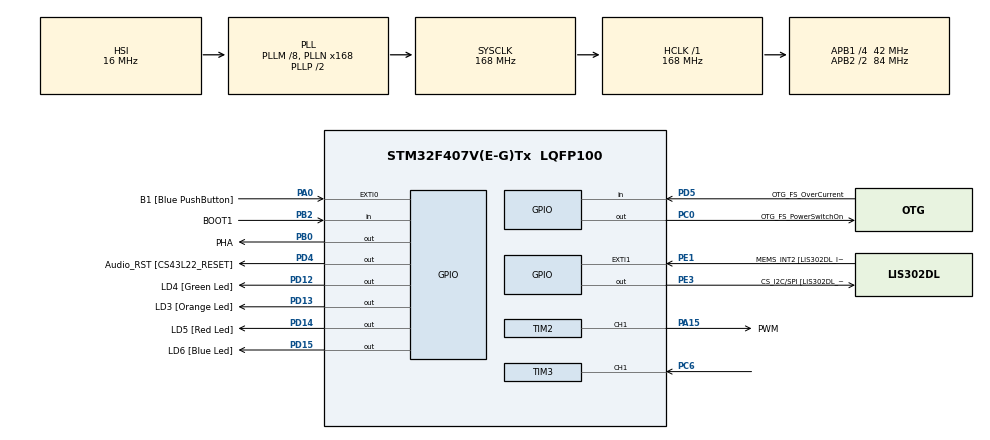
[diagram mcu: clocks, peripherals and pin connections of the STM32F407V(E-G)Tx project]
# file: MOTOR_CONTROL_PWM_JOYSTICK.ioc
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Mcu.Family=STM32F4
Mcu.Name=STM32F407V(E-G)Tx
Mcu.Package=LQFP100
NVIC.PriorityGroup=NVIC_PRIORITYGROUP_0
NVIC.TIM3_IRQn=true\:0\:0\:false\:false\:true\:true\:true\:true
PA0-WKUP.GPIO_Label=B1 [Blue PushButton]
PA0-WKUP.Signal=GPXTI0
PA10.GPIO_Label=OTG_FS_ID
PA10.GPIO_Mode=GPIO_MODE_AF_PP
PA10.GPIO_PuPd=GPIO_NOPULL
PA10.GPIO_Speed=GPIO_SPEED_FREQ_LOW
PA10.Signal=USB_OTG_FS_ID
PA11.GPIO_Label=OTG_FS_DM
PA11.GPIO_Mode=GPIO_MODE_AF_PP
PA11.GPIO_PuPd=GPIO_NOPULL
PA11.GPIO_Speed=GPIO_SPEED_FREQ_LOW
PA11.Signal=USB_OTG_FS_DM
PA12.GPIO_Label=OTG_FS_DP
PA12.GPIO_Mode=GPIO_MODE_AF_PP
PA12.GPIO_PuPd=GPIO_NOPULL
PA12.GPIO_Speed=GPIO_SPEED_FREQ_LOW
PA12.Signal=USB_OTG_FS_DP
PA13.GPIO_Label=SWDIO
PA13.Signal=SYS_JTMS-SWDIO
PA14.GPIO_Label=SWCLK
PA14.Signal=SYS_JTCK-SWCLK
PA15.GPIO_Label=PWM
PA15.Signal=S_TIM2_CH1_ETR
PA4.GPIO_Label=I2S3_WS [CS43L22_LRCK]
PA4.GPIO_Mode=GPIO_MODE_AF_PP
PA4.GPIO_PuPd=GPIO_NOPULL
PA4.GPIO_Speed=GPIO_SPEED_FREQ_LOW
PA4.Signal=I2S3_WS
PA5.GPIO_Label=SPI1_SCK [LIS302DL_SCL/SPC]
PA5.GPIO_Mode=GPIO_MODE_AF_PP
PA5.GPIO_PuPd=GPIO_NOPULL
PA5.GPIO_Speed=GPIO_SPEED_FREQ_LOW
PA5.Signal=SPI1_SCK
PA6.GPIO_Label=SPI1_MISO [LIS302DL_SDO]
PA6.GPIO_Mode=GPIO_MODE_AF_PP
PA6.GPIO_PuPd=GPIO_NOPULL
PA6.GPIO_Speed=GPIO_SPEED_FREQ_LOW
PA6.Signal=SPI1_MISO
PA7.GPIO_Label=SPI1_MOSI [LIS302DL_SDA/SDI/SDO]
PA7.GPIO_Mode=GPIO_MODE_AF_PP
PA7.GPIO_PuPd=GPIO_NOPULL
PA7.GPIO_Speed=GPIO_SPEED_FREQ_LOW
PA7.Signal=SPI1_MOSI
PA9.GPIO_Label=VBUS_FS
PA9.GPIO_Mode=GPIO_MODE_INPUT
PA9.GPIO_PuPd=GPIO_NOPULL
PA9.Signal=USB_OTG_FS_VBUS
PB0.GPIO_Label=PHA
PB0.Signal=GPIO_Output
PB10.GPIO_Label=CLK_IN [MP45DT02_CLK]
PB10.GPIO_Mode=GPIO_MODE_AF_PP
PB10.GPIO_PuPd=GPIO_NOPULL
PB10.GPIO_Speed=GPIO_SPEED_FREQ_LOW
PB10.Signal=I2S2_CK
PB2.GPIO_Label=BOOT1
PB2.GPIO_Mode=GPIO_MODE_INPUT
PB2.GPIO_PuPd=GPIO_NOPULL
PB2.Signal=GPIO_Input
PB3.GPIO_Label=SWO
PB3.Signal=SYS_JTDO-SWO
PB6.GPIO_Label=Audio_SCL [CS43L22_SCL]
PB6.GPIO_Mode=GPIO_MODE_AF_OD
PB6.GPIO_PuPd=GPIO_NOPULL
PB6.GPIO_Speed=GPIO_SPEED_FREQ_LOW
PB6.Signal=I2C1_SCL
PB9.GPIO_Label=Audio_SDA [CS43L22_SDA]
PB9.GPIO_Mode=GPIO_MODE_AF_OD
PB9.GPIO_PuPd=GPIO_NOPULL
PB9.GPIO_Speed=GPIO_SPEED_FREQ_LOW
PB9.Signal=I2C1_SDA
PC0.GPIO_Label=OTG_FS_PowerSwitchOn
PC0.GPIO_PuPd=GPIO_NOPULL
PC0.GPIO_Speed=GPIO_SPEED_FREQ_LOW
PC0.PinState=GPIO_PIN_SET
PC0.Signal=GPIO_Output
PC10.GPIO_Label=I2S3_SCK [CS43L22_SCLK]
PC10.GPIO_Mode=GPIO_MODE_AF_PP
PC10.GPIO_PuPd=GPIO_NOPULL
PC10.GPIO_Speed=GPIO_SPEED_FREQ_LOW
PC10.Signal=I2S3_CK
PC12.GPIO_Label=I2S3_SD [CS43L22_SDIN]
PC12.GPIO_Mode=GPIO_MODE_AF_PP
PC12.GPIO_PuPd=GPIO_NOPULL
PC12.GPIO_Speed=GPIO_SPEED_FREQ_LOW
PC12.Signal=I2S3_SD
PC14-OSC32_IN.GPIO_Label=PC14-OSC32_IN
PC14-OSC32_IN.Signal=RCC_OSC32_IN
PC15-OSC32_OUT.GPIO_Label=PC15-OSC32_OUT
PC15-OSC32_OUT.Signal=RCC_OSC32_OUT
PC3.GPIO_Label=PDM_OUT [MP45DT02_DOUT]
PC3.GPIO_Mode=GPIO_MODE_AF_PP
PC3.GPIO_PuPd=GPIO_NOPULL
PC3.GPIO_Speed=GPIO_SPEED_FREQ_LOW
PC3.Signal=I2S2_SD
PC6.Signal=S_TIM3_CH1
PC7.GPIO_Label=I2S3_MCK [CS43L22_MCLK]
PC7.GPIO_Mode=GPIO_MODE_AF_PP
PC7.GPIO_PuPd=GPIO_NOPULL
PC7.GPIO_Speed=GPIO_SPEED_FREQ_LOW
PC7.Signal=I2S3_MCK
PD12.GPIO_Label=LD4 [Green Led]
PD12.GPIO_PuPd=GPIO_NOPULL
PD12.GPIO_Speed=GPIO_SPEED_FREQ_LOW
PD12.Signal=GPIO_Output
PD13.GPIO_Label=LD3 [Orange Led]
PD13.GPIO_PuPd=GPIO_NOPULL
PD13.GPIO_Speed=GPIO_SPEED_FREQ_LOW
PD13.Signal=GPIO_Output
PD14.GPIO_Label=LD5 [Red Led]
PD14.GPIO_PuPd=GPIO_NOPULL
PD14.GPIO_Speed=GPIO_SPEED_FREQ_LOW
PD14.Signal=GPIO_Output
PD15.GPIO_Label=LD6 [Blue Led]
PD15.GPIO_PuPd=GPIO_NOPULL
PD15.GPIO_Speed=GPIO_SPEED_FREQ_LOW
PD15.Signal=GPIO_Output
PD4.GPIO_Label=Audio_RST [CS43L22_RESET]
PD4.GPIO_PuPd=GPIO_NOPULL
PD4.GPIO_Speed=GPIO_SPEED_FREQ_LOW
PD4.Signal=GPIO_Output
PD5.GPIO_Label=OTG_FS_OverCurrent
PD5.GPIO_Mode=GPIO_MODE_INPUT
PD5.GPIO_PuPd=GPIO_NOPULL
PD5.Signal=GPIO_Input
PE1.GPIO_Label=MEMS_INT2 [LIS302DL_INT2]
PE1.GPIO_ModeDefaultEXTI=GPIO_MODE_EVT_RISING
PE1.GPIO_PuPd=GPIO_NOPULL
PE1.Signal=GPXTI1
PE3.GPIO_Label=CS_I2C/SPI [LIS302DL_CS_I2C/SPI]
PE3.GPIO_PuPd=GPIO_NOPULL
PE3.GPIO_Speed=GPIO_SPEED_FREQ_LOW
PE3.Signal=GPIO_Output
PH0-OSC_IN.GPIO_Label=PH0-OSC_IN
PH0-OSC_IN.Signal=RCC_OSC_IN
PH1-OSC_OUT.GPIO_Label=PH1-OSC_OUT
PH1-OSC_OUT.Signal=RCC_OSC_OUT
ProjectManager.HeapSize=0x200
ProjectManager.StackSize=0x400
ProjectManager.TargetToolchain=STM32CubeIDE
RCC.48MHZClocksFreq_Value=48000000
RCC.AHBFreq_Value=168000000
RCC.APB1CLKDivider=RCC_HCLK_DIV4
RCC.APB1Freq_Value=42000000
RCC.APB1TimFreq_Value=84000000
RCC.APB2CLKDivider=RCC_HCLK_DIV2
RCC.APB2Freq_Value=84000000
RCC.APB2TimFreq_Value=168000000
RCC.CortexFreq_Value=168000000
RCC.HCLKFreq_Value=168000000
RCC.HSE_VALUE=8000000
RCC.HSI_VALUE=16000000
RCC.LSE_VALUE=32768
RCC.PLLM=8
RCC.PLLN=168
RCC.PLLQ=7
RCC.SYSCLKFreq_VALUE=168000000
RCC.SYSCLKSource=RCC_SYSCLKSOURCE_PLLCLK
RCC.VCOOutputFreq_Value=336000000
SH.S_TIM2_CH1_ETR.0=TIM2_CH1,PWM Generation1 CH1
SH.S_TIM3_CH1.0=TIM3_CH1,Input_Capture1_from_TI1
TIM2.Channel-PWM\ Generation1\ CH1=TIM_CHANNEL_1
TIM2.Period=999
TIM2.Prescaler=167
TIM3.Channel-Input_Capture1_from_TI1=TIM_CHANNEL_1
TIM3.ICPolarity_CH1=TIM_INPUTCHANNELPOLARITY_BOTHEDGE
TIM3.Prescaler=167
VP_TIM2_VS_ClockSourceINT.Mode=Internal
VP_TIM3_VS_ClockSourceINT.Mode=Internal
board=STM32F407G-DISC1

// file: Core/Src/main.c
/* USER CODE BEGIN Header */
/**
  ******************************************************************************
  * @file           : main.c
  * @brief          : Main program body
  ******************************************************************************
  * @attention
  *
  * Copyright (c) 2026 STMicroelectronics.
  * All rights reserved.
  *
  * This software is licensed under terms that can be found in the LICENSE file
  * in the root directory of this software component.
  * If no LICENSE file comes with this software, it is provided AS-IS.
  *
  ******************************************************************************
  */
/* USER CODE END Header */
#include "main.h"

TIM_HandleTypeDef htim2;
TIM_HandleTypeDef htim3;

void SystemClock_Config(void);
static void MX_GPIO_Init(void);
static void MX_TIM2_Init(void);
static void MX_TIM3_Init(void);

/* USER CODE BEGIN 0 */
uint32_t ch1_duty;

void HAL_TIM_IC_CaptureCallback(TIM_HandleTypeDef *htim){

	static uint32_t prev_ch1;
	uint32_t ch1;

	if(htim->Channel = HAL_TIM_ACTIVE_CHANNEL_1)
	{
		ch1 = HAL_TIM_ReadCapturedValue(htim, TIM_CHANNEL_1);

		if(ch1 > prev_ch1 && ch1 - prev_ch1 < 5000)
		{
			ch1_duty = ch1 - prev_ch1 - 1000;
			if(ch1_duty < 0)
			{
				ch1_duty = 0;
			}
		}
		prev_ch1 = ch1;
	}

}
/* USER CODE END 0 */

int main(void)
{

  /* MCU Configuration--------------------------------------------------------*/

  /* Reset of all peripherals, Initializes the Flash interface and the Systick. */
  HAL_Init();

  /* Configure the system clock */
  SystemClock_Config();

  /* Initialize all configured peripherals */
  MX_GPIO_Init();
  MX_TIM2_Init();
  MX_TIM3_Init();

  /* Infinite loop */
  /* USER CODE BEGIN WHILE */
  while (1)
  {
	  __HAL_TIM_SET_COMPARE(&htim2 ,TIM_CHANNEL_1, ch1_duty);

    /* USER CODE END WHILE */

  }
}

void SystemClock_Config(void)
{
  RCC_OscInitTypeDef RCC_OscInitStruct = {0};
  RCC_ClkInitTypeDef RCC_ClkInitStruct = {0};

  /** Configure the main internal regulator output voltage
  */
  __HAL_RCC_PWR_CLK_ENABLE();
  __HAL_PWR_VOLTAGESCALING_CONFIG(PWR_REGULATOR_VOLTAGE_SCALE1);

  /** Initializes the RCC Oscillators according to the specified parameters
  * in the RCC_OscInitTypeDef structure.
  */
  RCC_OscInitStruct.OscillatorType = RCC_OSCILLATORTYPE_HSI;
  RCC_OscInitStruct.HSIState = RCC_HSI_ON;
  RCC_OscInitStruct.HSICalibrationValue = RCC_HSICALIBRATION_DEFAULT;
  RCC_OscInitStruct.PLL.PLLState = RCC_PLL_ON;
  RCC_OscInitStruct.PLL.PLLSource = RCC_PLLSOURCE_HSI;
  RCC_OscInitStruct.PLL.PLLM = 8;
  RCC_OscInitStruct.PLL.PLLN = 168;
  RCC_OscInitStruct.PLL.PLLP = RCC_PLLP_DIV2;
  RCC_OscInitStruct.PLL.PLLQ = 7;
  if (HAL_RCC_OscConfig(&RCC_OscInitStruct) != HAL_OK)
  {
    Error_Handler();
  }

  /** Initializes the CPU, AHB and APB buses clocks
  */
  RCC_ClkInitStruct.ClockType = RCC_CLOCKTYPE_HCLK|RCC_CLOCKTYPE_SYSCLK
                              |RCC_CLOCKTYPE_PCLK1|RCC_CLOCKTYPE_PCLK2;
  RCC_ClkInitStruct.SYSCLKSource = RCC_SYSCLKSOURCE_PLLCLK;
  RCC_ClkInitStruct.AHBCLKDivider = RCC_SYSCLK_DIV1;
  RCC_ClkInitStruct.APB1CLKDivider = RCC_HCLK_DIV4;
  RCC_ClkInitStruct.APB2CLKDivider = RCC_HCLK_DIV2;

  if (HAL_RCC_ClockConfig(&RCC_ClkInitStruct, FLASH_LATENCY_5) != HAL_OK)
  {
    Error_Handler();
  }
}

static void MX_TIM2_Init(void)
{

  TIM_ClockConfigTypeDef sClockSourceConfig = {0};
  TIM_MasterConfigTypeDef sMasterConfig = {0};
  TIM_OC_InitTypeDef sConfigOC = {0};

  htim2.Instance = TIM2;
  htim2.Init.Prescaler = 167;
  htim2.Init.CounterMode = TIM_COUNTERMODE_UP;
  htim2.Init.Period = 999;
  htim2.Init.ClockDivision = TIM_CLOCKDIVISION_DIV1;
  htim2.Init.AutoReloadPreload = TIM_AUTORELOAD_PRELOAD_DISABLE;
  if (HAL_TIM_Base_Init(&htim2) != HAL_OK)
  {
    Error_Handler();
  }
  sClockSourceConfig.ClockSource = TIM_CLOCKSOURCE_INTERNAL;
  if (HAL_TIM_ConfigClockSource(&htim2, &sClockSourceConfig) != HAL_OK)
  {
    Error_Handler();
  }
  if (HAL_TIM_PWM_Init(&htim2) != HAL_OK)
  {
    Error_Handler();
  }
  sMasterConfig.MasterOutputTrigger = TIM_TRGO_RESET;
  sMasterConfig.MasterSlaveMode = TIM_MASTERSLAVEMODE_DISABLE;
  if (HAL_TIMEx_MasterConfigSynchronization(&htim2, &sMasterConfig) != HAL_OK)
  {
    Error_Handler();
  }
  sConfigOC.OCMode = TIM_OCMODE_PWM1;
  sConfigOC.Pulse = 0;
  sConfigOC.OCPolarity = TIM_OCPOLARITY_HIGH;
  sConfigOC.OCFastMode = TIM_OCFAST_DISABLE;
  if (HAL_TIM_PWM_ConfigChannel(&htim2, &sConfigOC, TIM_CHANNEL_1) != HAL_OK)
  {
    Error_Handler();
  }
  /* USER CODE BEGIN TIM2_Init 2 */
  HAL_TIM_Base_Start(&htim2);
  HAL_TIM_PWM_Start(&htim2, TIM_CHANNEL_1);
  /* USER CODE END TIM2_Init 2 */
  HAL_TIM_MspPostInit(&htim2);

}

static void MX_TIM3_Init(void)
{

  TIM_ClockConfigTypeDef sClockSourceConfig = {0};
  TIM_MasterConfigTypeDef sMasterConfig = {0};
  TIM_IC_InitTypeDef sConfigIC = {0};

  htim3.Instance = TIM3;
  htim3.Init.Prescaler = 167;
  htim3.Init.CounterMode = TIM_COUNTERMODE_UP;
  htim3.Init.Period = 65535;
  htim3.Init.ClockDivision = TIM_CLOCKDIVISION_DIV1;
  htim3.Init.AutoReloadPreload = TIM_AUTORELOAD_PRELOAD_DISABLE;
  if (HAL_TIM_Base_Init(&htim3) != HAL_OK)
  {
    Error_Handler();
  }
  sClockSourceConfig.ClockSource = TIM_CLOCKSOURCE_INTERNAL;
  if (HAL_TIM_ConfigClockSource(&htim3, &sClockSourceConfig) != HAL_OK)
  {
    Error_Handler();
  }
  if (HAL_TIM_IC_Init(&htim3) != HAL_OK)
  {
    Error_Handler();
  }
  sMasterConfig.MasterOutputTrigger = TIM_TRGO_RESET;
  sMasterConfig.MasterSlaveMode = TIM_MASTERSLAVEMODE_DISABLE;
  if (HAL_TIMEx_MasterConfigSynchronization(&htim3, &sMasterConfig) != HAL_OK)
  {
    Error_Handler();
  }
  sConfigIC.ICPolarity = TIM_INPUTCHANNELPOLARITY_BOTHEDGE;
  sConfigIC.ICSelection = TIM_ICSELECTION_DIRECTTI;
  sConfigIC.ICPrescaler = TIM_ICPSC_DIV1;
  sConfigIC.ICFilter = 0;
  if (HAL_TIM_IC_ConfigChannel(&htim3, &sConfigIC, TIM_CHANNEL_1) != HAL_OK)
  {
    Error_Handler();
  }
  /* USER CODE BEGIN TIM3_Init 2 */
  HAL_TIM_IC_Start_IT(&htim3, TIM_CHANNEL_1);
  /* USER CODE END TIM3_Init 2 */

}

static void MX_GPIO_Init(void)
{
  GPIO_InitTypeDef GPIO_InitStruct = {0};

  /* GPIO Ports Clock Enable */
  __HAL_RCC_GPIOE_CLK_ENABLE();
  __HAL_RCC_GPIOC_CLK_ENABLE();
  __HAL_RCC_GPIOH_CLK_ENABLE();
  __HAL_RCC_GPIOA_CLK_ENABLE();
  __HAL_RCC_GPIOB_CLK_ENABLE();
  __HAL_RCC_GPIOD_CLK_ENABLE();

  /*Configure GPIO pin Output Level */
  HAL_GPIO_WritePin(CS_I2C_SPI_GPIO_Port, CS_I2C_SPI_Pin, GPIO_PIN_RESET);

  /*Configure GPIO pin Output Level */
  HAL_GPIO_WritePin(OTG_FS_PowerSwitchOn_GPIO_Port, OTG_FS_PowerSwitchOn_Pin, GPIO_PIN_SET);

  /*Configure GPIO pin Output Level */
  HAL_GPIO_WritePin(PHA_GPIO_Port, PHA_Pin, GPIO_PIN_RESET);

  /*Configure GPIO pin Output Level */
  HAL_GPIO_WritePin(GPIOD, LD4_Pin|LD3_Pin|LD5_Pin|LD6_Pin
                          |Audio_RST_Pin, GPIO_PIN_RESET);

  /*Configure GPIO pin : CS_I2C_SPI_Pin */
  GPIO_InitStruct.Pin = CS_I2C_SPI_Pin;
  GPIO_InitStruct.Mode = GPIO_MODE_OUTPUT_PP;
  GPIO_InitStruct.Pull = GPIO_NOPULL;
  GPIO_InitStruct.Speed = GPIO_SPEED_FREQ_LOW;
  HAL_GPIO_Init(CS_I2C_SPI_GPIO_Port, &GPIO_InitStruct);

  /*Configure GPIO pin : OTG_FS_PowerSwitchOn_Pin */
  GPIO_InitStruct.Pin = OTG_FS_PowerSwitchOn_Pin;
  GPIO_InitStruct.Mode = GPIO_MODE_OUTPUT_PP;
  GPIO_InitStruct.Pull = GPIO_NOPULL;
  GPIO_InitStruct.Speed = GPIO_SPEED_FREQ_LOW;
  HAL_GPIO_Init(OTG_FS_PowerSwitchOn_GPIO_Port, &GPIO_InitStruct);

  /*Configure GPIO pin : PDM_OUT_Pin */
  GPIO_InitStruct.Pin = PDM_OUT_Pin;
  GPIO_InitStruct.Mode = GPIO_MODE_AF_PP;
  GPIO_InitStruct.Pull = GPIO_NOPULL;
  GPIO_InitStruct.Speed = GPIO_SPEED_FREQ_LOW;
  GPIO_InitStruct.Alternate = GPIO_AF5_SPI2;
  HAL_GPIO_Init(PDM_OUT_GPIO_Port, &GPIO_InitStruct);

  /*Configure GPIO pin : B1_Pin */
  GPIO_InitStruct.Pin = B1_Pin;
  GPIO_InitStruct.Mode = GPIO_MODE_IT_RISING;
  GPIO_InitStruct.Pull = GPIO_NOPULL;
  HAL_GPIO_Init(B1_GPIO_Port, &GPIO_InitStruct);

  /*Configure GPIO pin : I2S3_WS_Pin */
  GPIO_InitStruct.Pin = I2S3_WS_Pin;
  GPIO_InitStruct.Mode = GPIO_MODE_AF_PP;
  GPIO_InitStruct.Pull = GPIO_NOPULL;
  GPIO_InitStruct.Speed = GPIO_SPEED_FREQ_LOW;
  GPIO_InitStruct.Alternate = GPIO_AF6_SPI3;
  HAL_GPIO_Init(I2S3_WS_GPIO_Port, &GPIO_InitStruct);

  /*Configure GPIO pins : SPI1_SCK_Pin SPI1_MISO_Pin SPI1_MOSI_Pin */
  GPIO_InitStruct.Pin = SPI1_SCK_Pin|SPI1_MISO_Pin|SPI1_MOSI_Pin;
  GPIO_InitStruct.Mode = GPIO_MODE_AF_PP;
  GPIO_InitStruct.Pull = GPIO_NOPULL;
  GPIO_InitStruct.Speed = GPIO_SPEED_FREQ_LOW;
  GPIO_InitStruct.Alternate = GPIO_AF5_SPI1;
  HAL_GPIO_Init(GPIOA, &GPIO_InitStruct);

  /*Configure GPIO pin : PHA_Pin */
  GPIO_InitStruct.Pin = PHA_Pin;
  GPIO_InitStruct.Mode = GPIO_MODE_OUTPUT_PP;
  GPIO_InitStruct.Pull = GPIO_NOPULL;
  GPIO_InitStruct.Speed = GPIO_SPEED_FREQ_LOW;
  HAL_GPIO_Init(PHA_GPIO_Port, &GPIO_InitStruct);

  /*Configure GPIO pin : BOOT1_Pin */
  GPIO_InitStruct.Pin = BOOT1_Pin;
  GPIO_InitStruct.Mode = GPIO_MODE_INPUT;
  GPIO_InitStruct.Pull = GPIO_NOPULL;
  HAL_GPIO_Init(BOOT1_GPIO_Port, &GPIO_InitStruct);

  /*Configure GPIO pin : CLK_IN_Pin */
  GPIO_InitStruct.Pin = CLK_IN_Pin;
  GPIO_InitStruct.Mode = GPIO_MODE_AF_PP;
  GPIO_InitStruct.Pull = GPIO_NOPULL;
  GPIO_InitStruct.Speed = GPIO_SPEED_FREQ_LOW;
  GPIO_InitStruct.Alternate = GPIO_AF5_SPI2;
  HAL_GPIO_Init(CLK_IN_GPIO_Port, &GPIO_InitStruct);

  /*Configure GPIO pins : LD4_Pin LD3_Pin LD5_Pin LD6_Pin
                           Audio_RST_Pin */
  GPIO_InitStruct.Pin = LD4_Pin|LD3_Pin|LD5_Pin|LD6_Pin
                          |Audio_RST_Pin;
  GPIO_InitStruct.Mode = GPIO_MODE_OUTPUT_PP;
  GPIO_InitStruct.Pull = GPIO_NOPULL;
  GPIO_InitStruct.Speed = GPIO_SPEED_FREQ_LOW;
  HAL_GPIO_Init(GPIOD, &GPIO_InitStruct);

  /*Configure GPIO pins : I2S3_MCK_Pin I2S3_SCK_Pin I2S3_SD_Pin */
  GPIO_InitStruct.Pin = I2S3_MCK_Pin|I2S3_SCK_Pin|I2S3_SD_Pin;
  GPIO_InitStruct.Mode = GPIO_MODE_AF_PP;
  GPIO_InitStruct.Pull = GPIO_NOPULL;
  GPIO_InitStruct.Speed = GPIO_SPEED_FREQ_LOW;
  GPIO_InitStruct.Alternate = GPIO_AF6_SPI3;
  HAL_GPIO_Init(GPIOC, &GPIO_InitStruct);

  /*Configure GPIO pin : VBUS_FS_Pin */
  GPIO_InitStruct.Pin = VBUS_FS_Pin;
  GPIO_InitStruct.Mode = GPIO_MODE_INPUT;
  GPIO_InitStruct.Pull = GPIO_NOPULL;
  HAL_GPIO_Init(VBUS_FS_GPIO_Port, &GPIO_InitStruct);

  /*Configure GPIO pins : OTG_FS_ID_Pin OTG_FS_DM_Pin OTG_FS_DP_Pin */
  GPIO_InitStruct.Pin = OTG_FS_ID_Pin|OTG_FS_DM_Pin|OTG_FS_DP_Pin;
  GPIO_InitStruct.Mode = GPIO_MODE_AF_PP;
  GPIO_InitStruct.Pull = GPIO_NOPULL;
  GPIO_InitStruct.Speed = GPIO_SPEED_FREQ_LOW;
  GPIO_InitStruct.Alternate = GPIO_AF10_OTG_FS;
  HAL_GPIO_Init(GPIOA, &GPIO_InitStruct);

  /*Configure GPIO pin : OTG_FS_OverCurrent_Pin */
  GPIO_InitStruct.Pin = OTG_FS_OverCurrent_Pin;
  GPIO_InitStruct.Mode = GPIO_MODE_INPUT;
  GPIO_InitStruct.Pull = GPIO_NOPULL;
  HAL_GPIO_Init(OTG_FS_OverCurrent_GPIO_Port, &GPIO_InitStruct);

  /*Configure GPIO pins : Audio_SCL_Pin Audio_SDA_Pin */
  GPIO_InitStruct.Pin = Audio_SCL_Pin|Audio_SDA_Pin;
  GPIO_InitStruct.Mode = GPIO_MODE_AF_OD;
  GPIO_InitStruct.Pull = GPIO_NOPULL;
  GPIO_InitStruct.Speed = GPIO_SPEED_FREQ_LOW;
  GPIO_InitStruct.Alternate = GPIO_AF4_I2C1;
  HAL_GPIO_Init(GPIOB, &GPIO_InitStruct);

  /*Configure GPIO pin : MEMS_INT2_Pin */
  GPIO_InitStruct.Pin = MEMS_INT2_Pin;
  GPIO_InitStruct.Mode = GPIO_MODE_EVT_RISING;
  GPIO_InitStruct.Pull = GPIO_NOPULL;
  HAL_GPIO_Init(MEMS_INT2_GPIO_Port, &GPIO_InitStruct);

}

void Error_Handler(void)
{
  __disable_irq();
  while (1)
  {
  }
}
